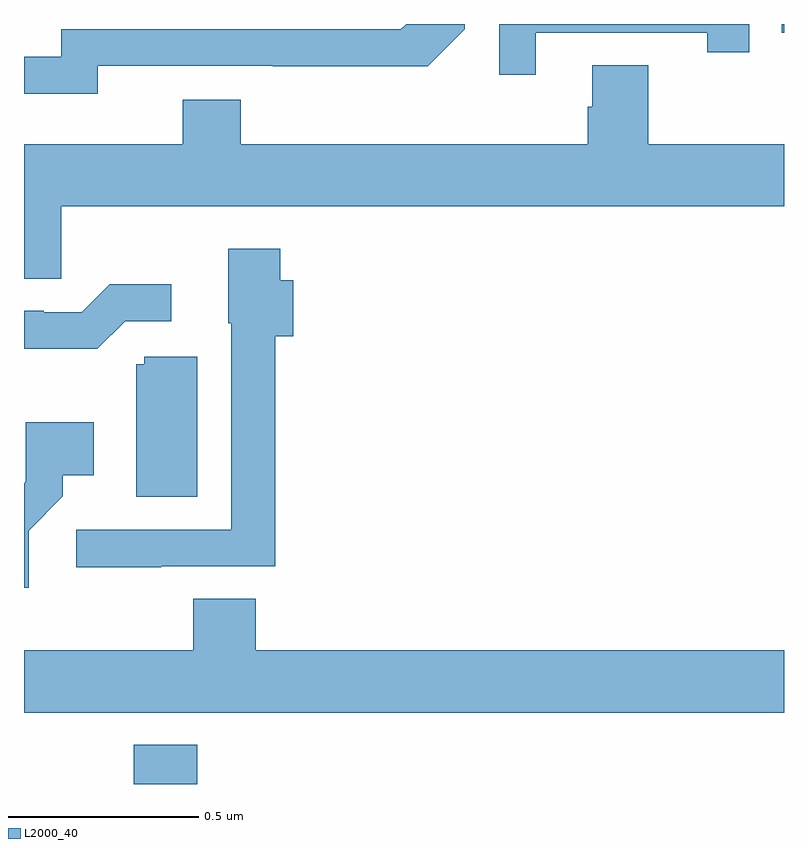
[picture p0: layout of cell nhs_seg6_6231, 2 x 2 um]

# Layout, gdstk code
import gdstk
lib = gdstk.Library(unit=1e-6, precision=1e-09)
def R(c, l, rs):  # rectangles x0, y0, x1, y1
    for r in rs: c.add(gdstk.rectangle(r[:2], r[2:], *l))
def P(c, l, *ps):  # polygons
    for p in ps: c.add(gdstk.Polygon(p, *l))
L2000_40 = (2000, 40)

nhs_seg6_6231 = lib.new_cell('nhs_seg6_6231')
R(nhs_seg6_6231, L2000_40, [(193.289,928.5,193.456,928.603), (194.994,930.477,195,930.5)])
P(nhs_seg6_6231, L2000_40, [(194.347,930.477),(194.798,930.477),(194.798,930.426),(194.909,930.426),(194.909,930.5),(194.25,930.5),(194.25,930.366),(194.347,930.366)],
  [(193.194,930.39),(193.654,930.39),(193.654,930.389),(194.062,930.389),(194.16,930.486),(194.16,930.5),(194.006,930.5),(193.992,930.486),(193.098,930.486),(193.098,930.414),(193,930.414),(193,930.317),(193.194,930.317)],
  [(193.098,930.02),(195,930.02),(195,930.184),(194.643,930.184),(194.643,930.392),(194.495,930.392),(194.495,930.282),(194.483,930.282),(194.483,930.184),(193.571,930.184),(193.571,930.301),(193.418,930.301),(193.418,930.184),(193,930.184),(193,929.83),(193.098,929.83)],
  [(193.361,929.073),(193.661,929.073),(193.661,929.678),(193.709,929.678),(193.709,929.826),(193.674,929.826),(193.674,929.908),(193.538,929.908),(193.538,929.712),(193.545,929.712),(193.545,929.169),(193.137,929.169),(193.137,929.071),(193.361,929.071)],
  [(193.266,929.718),(193.387,929.718),(193.387,929.815),(193.225,929.815),(193.152,929.742),(193.052,929.742),(193.052,929.745),(193,929.745),(193,929.646),(193.094,929.646),(193.094,929.645),(193.193,929.645)],
  [(193.456,929.625),(193.317,929.625),(193.317,929.604),(193.295,929.604),(193.295,929.256),(193.456,929.256)],
  [(193.012,929.167),(193.102,929.257),(193.102,929.312),(193.183,929.312),(193.183,929.452),(193.005,929.452),(193.005,929.297),(193,929.292),(193,929.016),(193.012,929.016)],
  [(195,928.852),(193.61,928.852),(193.61,928.988),(193.445,928.988),(193.445,928.852),(193,928.852),(193,928.688),(195,928.688)])

lib.write_gds('nhs_seg6_6231.gds')
